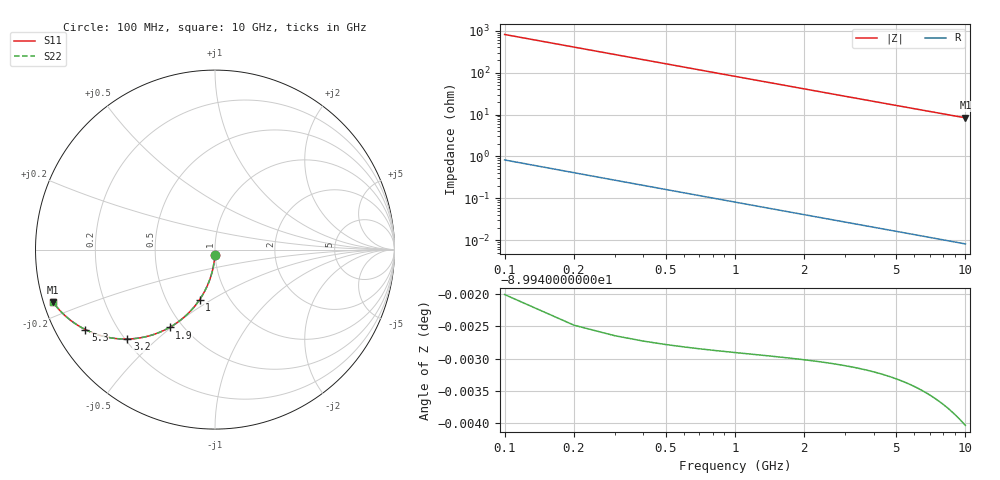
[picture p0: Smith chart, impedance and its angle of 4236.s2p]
# Hz S RI R 50.00
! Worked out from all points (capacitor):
!   100 points, 100 MHz to 10 GHz, reference 50 ohm
!   read as one part in shunt: C = 1.96 pF near 100 MHz
!   lowest |Z| = 8.33 ohm at 10 GHz (marker M1)
!   S11 on the Smith chart (normalised r, x): 100 MHz: 1.00, -0.06; 1 GHz: 0.73, -0.45; 1.9 GHz: 0.43, -0.49; 3.2 GHz: 0.21, -0.40; 5.3 GHz: 0.09, -0.28; 10 GHz: 0.03, -0.16
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1e8  -0.000969 -0.0307  0.999 -0.0307  0.999 -0.0307  -0.000969 -0.0307
2e8  -0.00382 -0.0612  0.9962 -0.0613  0.9962 -0.0613  -0.00382 -0.0612
3e8  -0.00851 -0.0913  0.9915 -0.0915  0.9915 -0.0915  -0.00851 -0.0913
4e8  -0.015 -0.1209  0.985 -0.1212  0.985 -0.1212  -0.015 -0.1209
5e8  -0.0232 -0.1499  0.9768 -0.1502  0.9768 -0.1502  -0.0232 -0.1499
6e8  -0.033 -0.178  0.967 -0.1784  0.967 -0.1784  -0.033 -0.178
7e8  -0.0444 -0.2052  0.9556 -0.2057  0.9556 -0.2057  -0.0444 -0.2052
8e8  -0.0571 -0.2313  0.9429 -0.2318  0.9429 -0.2318  -0.0571 -0.2313
1e9  -0.0863 -0.28  0.9137 -0.2807  0.9137 -0.2807  -0.0863 -0.28
1.2e9  -0.1196 -0.3236  0.8804 -0.3244  0.8804 -0.3244  -0.1196 -0.3236
1.4e9  -0.1559 -0.3618  0.8441 -0.3627  0.8441 -0.3627  -0.1559 -0.3618
1.8e9  -0.2334 -0.4219  0.7666 -0.4231  0.7666 -0.4231  -0.2334 -0.4219
1.9e9  -0.2532 -0.4337  0.7468 -0.435  0.7468 -0.435  -0.2532 -0.4337
2.5e9  -0.369 -0.4812  0.631 -0.4829  0.631 -0.4829  -0.369 -0.4812
3.2e9  -0.4884 -0.4983  0.5116 -0.5005  0.5116 -0.5005  -0.4884 -0.4983
3.4e9  -0.5184 -0.498  0.4816 -0.5003  0.4816 -0.5003  -0.5184 -0.498
4.2e9  -0.6208 -0.4833  0.3792 -0.4861  0.3792 -0.4861  -0.6208 -0.4833
5.1e9  -0.7063 -0.4532  0.2936 -0.4567  0.2936 -0.4567  -0.7063 -0.4532
5.3e9  -0.7219 -0.4457  0.2781 -0.4494  0.2781 -0.4494  -0.7219 -0.4457
6.7e9  -0.8052 -0.3932  0.1948 -0.3979  0.1948 -0.3979  -0.8052 -0.3932
8.4e9  -0.8662 -0.3369  0.1337 -0.3428  0.1337 -0.3428  -0.8662 -0.3369
1e10  -0.9016 -0.2938  0.0984 -0.3008  0.0984 -0.3008  -0.9016 -0.2938
